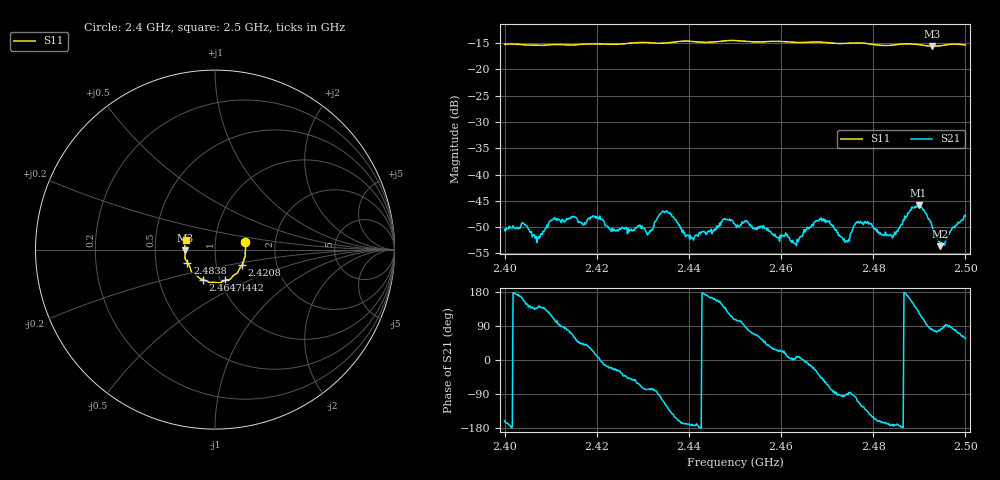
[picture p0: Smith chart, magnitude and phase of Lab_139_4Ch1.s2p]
# Hz S RI R 50
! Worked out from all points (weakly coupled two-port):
!   601 points, 2.4 GHz to 2.5 GHz, reference 50 ohm
!   highest |S21| = -45.87 dB at 2.4898 GHz (marker M1); lowest = -53.6 dB at 2.4945 GHz (marker M2)
!   lowest |S11| = -15.6 dB at 2.4928 GHz (marker M3), VSWR 1.40, Z = 35.8 - j0.364 ohm
!   |S11| at or under -10 dB: start of sweep to end of sweep
!   S12 and S22 are empty: the file has one direction only
!   S11 on the Smith chart (normalised r, x): 2.4 GHz: 1.40, +0.12; 2.4208 GHz: 1.33, -0.24; 2.4442 GHz: 1.05, -0.37; 2.4647 GHz: 0.83, -0.29; 2.4838 GHz: 0.73, -0.11; 2.5 GHz: 0.72, +0.08
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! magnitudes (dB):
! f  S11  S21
! 2.4 GHz  -15.2  -50.4
! 2.4072 GHz  -15.4  -52.2
! 2.4105 GHz  -15.3  -48.5
! 2.4167 GHz  -15.2  -49.2
! 2.4208 GHz  -15.2  -48.5
! 2.4312 GHz  -14.9  -51.2
! 2.4333 GHz  -15.0  -48.1
! 2.4357 GHz  -14.9  -47.3
! 2.4405 GHz  -14.7  -52.1
! 2.4442 GHz  -14.9  -50.9
! 2.45 GHz  -14.5  -49.5
! 2.4647 GHz  -14.9  -51.7
! 2.4667 GHz  -14.8  -49.6
! 2.47 GHz  -14.9  -48.8
! 2.474 GHz  -15.1  -52.8
! 2.4768 GHz  -15.0  -49.1
! 2.4833 GHz  -15.5  -51.6
! 2.4838 GHz  -15.4  -51.6
! 2.4898 GHz  -15.3  -45.9
! 2.4928 GHz  -15.6  -50.0
! 2.4945 GHz  -15.5  -53.6
! 2.5 GHz  -15.4  -47.9
